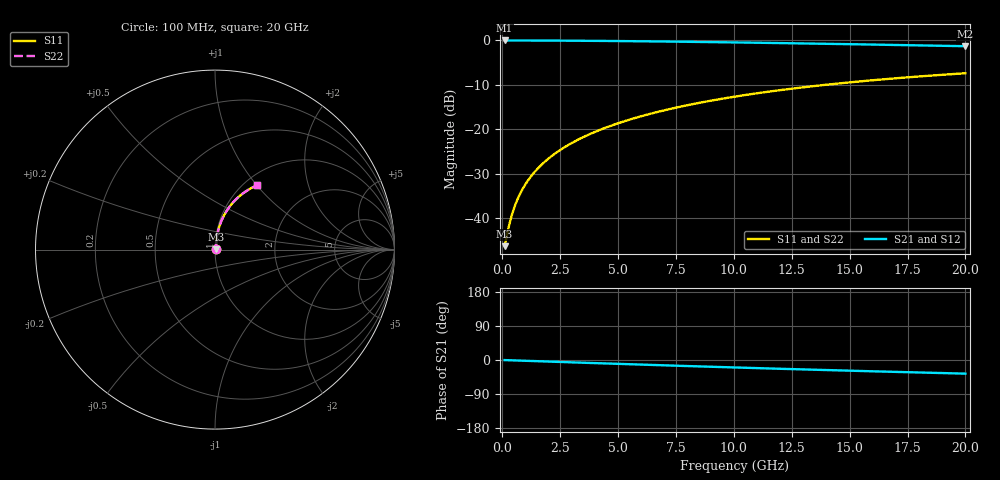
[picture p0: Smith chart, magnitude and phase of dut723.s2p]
! Touchstone file exported from HFSS 2024.1.0
!  File:  C:/UserFiles/LocalFiles/RDL_TSV_Batchsim/temp_RDL_top_723_1779850683.aedt
!  Generated:  11:00:25 AM May 27, 2026
!  Design:  RDL_top
!  Project:  temp_RDL_top_723_1779850683
!  Setup:  Setup1
!  Solution:  Sweep
! Variables:
!  dtsv = 10.80580581um
!  hbump = 3um
!  htsv = 68.57um
!  ldown = 100um
!  lrdl = 416.76um
!  p = 40
!  p1 = 55.94um
!  rhole = 1um
!  t = 450um
!  tdown = 3.915915916um
!  trdl = 2.54um
!  wdown = 15.38538539um
!  wrdl = 14.28um
# GHz S MA R 50.000000
! Terminal data exported
! Port[1] = Box2_T1
! Port[2] = Box2_T2
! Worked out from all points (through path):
!   200 points, 100 MHz to 20 GHz, reference 50 ohm
!   highest |S21| = -0.04 dB at 100 MHz (marker M1); lowest = -1.3 dB at 20 GHz (marker M2)
!   group delay of S21, straight-line fit = 5 ps
!   lowest |S11| = -46.2 dB at 100 MHz (marker M3), VSWR 1.01, Z = 50.4 + j0.246 ohm
!   |S11| at or under -10 dB: start of sweep to 13.95 GHz
!   |S22| runs from -46.2 to -7.4 dB; largest |S21 - S12| = 2.7e-15
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0.1  0.004891 29.9  0.9958 -0.2  0.9958 -0.2  0.004891 29.9
! Gamma 0 0 0 0
! Port Impedance 50 0 50 0
0.3  0.00849 58.8  0.9956 -0.6  0.9956 -0.6  0.00849 58.8
0.4  0.01065 64.9  0.9955 -0.9  0.9955 -0.9  0.01065 64.9
0.5  0.01288 68.9  0.9953 -1.1  0.9953 -1.1  0.01288 68.9
0.6  0.01513 71.6  0.9952 -1.3  0.9952 -1.3  0.01513 71.5
0.8  0.01967 75.0  0.9949 -1.7  0.9949 -1.7  0.01967 75.0
1.1  0.0265 77.9  0.9944 -2.3  0.9944 -2.3  0.0265 77.8
1.5  0.03565 79.8  0.9936 -3.1  0.9936 -3.1  0.03565 79.8
1.8  0.04254 80.6  0.993 -3.8  0.993 -3.8  0.04254 80.6
2.1  0.04946 81.1  0.9923 -4.4  0.9923 -4.4  0.04946 81.1
2.7  0.06336 81.5  0.9905 -5.6  0.9905 -5.6  0.06336 81.5
3.5  0.08199 81.3  0.9877 -7.2  0.9877 -7.2  0.08199 81.3
4.2  0.09836 80.8  0.9847 -8.6  0.9847 -8.6  0.09836 80.8
5  0.1171 80.0  0.9808 -10.2  0.9808 -10.2  0.1171 80.0
5.9  0.1382 78.9  0.9758 -12.0  0.9758 -12.0  0.1382 78.9
6.8  0.1592 77.7  0.9703 -13.7  0.9703 -13.7  0.1592 77.7
8.4  0.1962 75.3  0.9593 -16.7  0.9593 -16.7  0.1961 75.3
10.1  0.2345 72.6  0.9464 -19.8  0.9464 -19.8  0.2345 72.6
11.7  0.2695 70.0  0.9334 -22.7  0.9334 -22.7  0.2694 70.0
13.4  0.3051 67.2  0.9188 -25.6  0.9188 -25.6  0.3051 67.2
16.7  0.3694 61.9  0.889 -31.0  0.889 -31.0  0.3693 61.9
20  0.4266 56.9  0.8584 -36.0  0.8584 -36.0  0.4266 56.9
